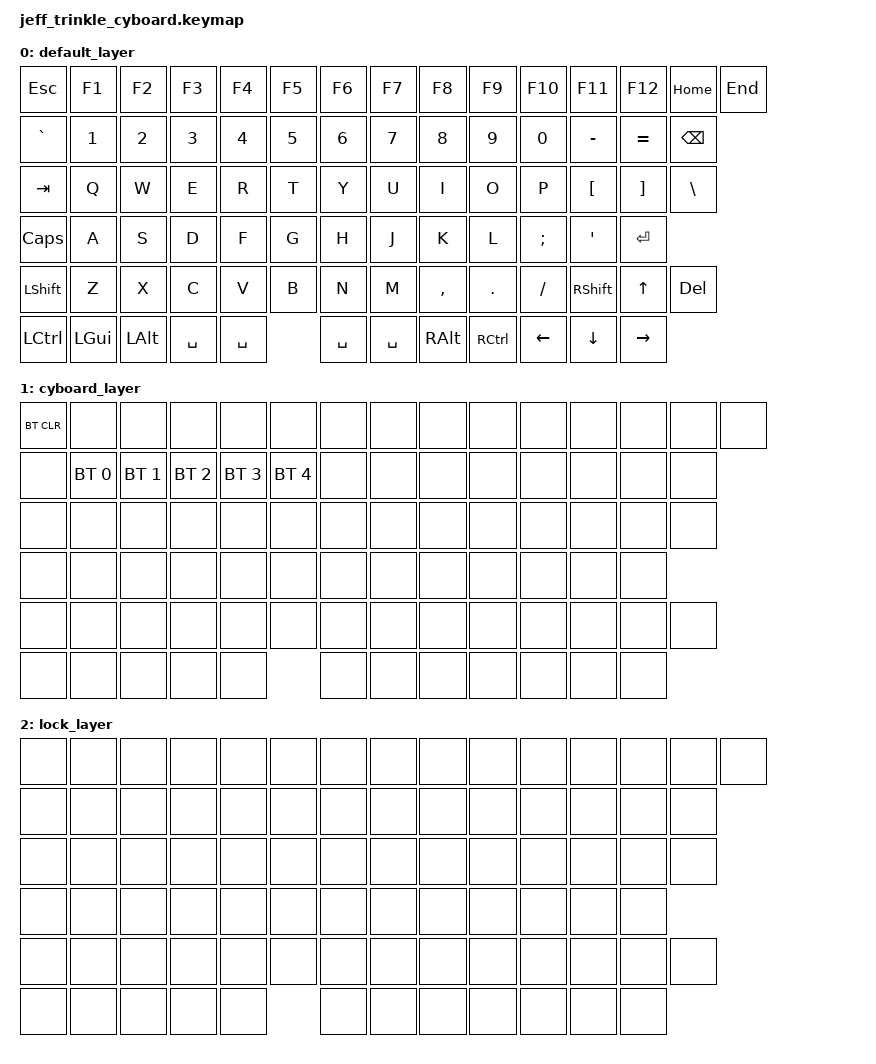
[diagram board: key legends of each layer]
/*
 * Copyright (c) 2020 The ZMK Contributors
 *
 * SPDX-License-Identifier: MIT
 */

#include <behaviors.dtsi>
#include <dt-bindings/zmk/keys.h>
#include <dt-bindings/zmk/bt.h>
#include <dt-bindings/zmk/outputs.h>

#define DEFAULT 0
#define CYBOARD 1
#define LOCK 2

/ {

// key-positions
// 0  1  2  3  4  5  | 6  7  8  9  10 11 12 13 14
// 15 16 17 18 19 20 | 21 22 23 24 25 26 27 28
// 29 30 31 32 33 34 | 35 36 37 38 39 40 41 42
// 43 44 45 46 47 48 | 49 50 51 52 53 54 55
// 56 57 58 59 60 61 | 62 63 64 65 66 67 68 69
// 70 71 72 73 74 75 | 76 77 78 79 80 81 82

        combos {
                compatible = "zmk,combos";
                combo_toggle_lock_left {
                          timeout-ms = <50>;
                          key-positions = <0 1 2>;
                          bindings = <&tog LOCK>;
                };
                combo_toggle_lock_right {
                          timeout-ms = <50>;
                          key-positions = <12 13 14>;
                          bindings = <&tog LOCK>;
                };
                combo_toggle_cyboard_left {
                          timeout-ms = <50>;
                          key-positions = <3 4 5>;
                          bindings = <&tog CYBOARD>;
                };
                combo_toggle_cyboard_right {
                          timeout-ms = <50>;
                          key-positions = <6 7 8>;
                          bindings = <&tog CYBOARD>;
                };
        };
/*
 * JCT: clear bt profile on keyboard: (1) forget cyboard in windows, (2) clear bt on keyboard (press ...
 * F3,F4,F5 together, press escape, press F3,F4,F5 together), (3) repair as bt device on windows
 */
        keymap {
                compatible = "zmk,keymap";

                default_layer {
                        bindings = <
   &kp ESC &kp F1 &kp F2 &kp F3 &kp F4 &kp F5    &kp F6 &kp F7 &kp F8 &kp F9 &kp F10 &kp F11 &kp F12 &kp HOME &kp END
   &kp GRAVE &kp N1 &kp N2 &kp N3 &kp N4 &kp N5    &kp N6 &kp N7 &kp N8 &kp N9 &kp N0 &kp MINUS &kp EQUAL &kp BACKSPACE
   &kp TAB &kp Q &kp W &kp E &kp R &kp T    &kp Y &kp U &kp I &kp O &kp P &kp LBKT &kp RBKT &kp BSLH
   &kp CAPS &kp A &kp S &kp D &kp F &kp G    &kp H &kp J &kp K &kp L &kp SEMI &kp SQT &kp ENTER
   &kp LSHFT &kp Z &kp X &kp C &kp V &kp B    &kp N &kp M &kp COMMA &kp DOT &kp FSLH &kp RSHFT &kp UP &kp DEL
   &kp LCTRL &kp LGUI &kp LALT &kp SPACE &kp SPACE          &kp SPACE &kp SPACE &kp RALT &kp RCTRL &kp LEFT &kp DOWN &kp RIGHT
                        >;
                };

                cyboard_layer {
                        bindings = <
   &bt BT_CLR &none &none &none &none &none    &none &none &none &none &none &none &none &none &none
   &none &bt BT_SEL 0 &bt BT_SEL 1 &bt BT_SEL 2 &bt BT_SEL 3 &bt BT_SEL 4    &none &none &none &none &none &none &none &none
   &none &none &none &none &none &none    &none &none &none &none &none &none &none &none
   &none &none &none &none &none &none    &none &none &none &none &none &none &none
   &none &none &none &none &none &none    &none &none &none &none &none &none &none &none
   &none &none &none &none &none          &none &none &none &none &none &none &none
                        >;
                };

                lock_layer {
                        bindings = <
   &none &none &none &none &none &none    &none &none &none &none &none &none &none &none &none
   &none &none &none &none &none &none    &none &none &none &none &none &none &none &none
   &none &none &none &none &none &none    &none &none &none &none &none &none &none &none
   &none &none &none &none &none &none    &none &none &none &none &none &none &none
   &none &none &none &none &none &none    &none &none &none &none &none &none &none &none
   &none &none &none &none &none          &none &none &none &none &none &none &none
                        >;
                };
        };
};
